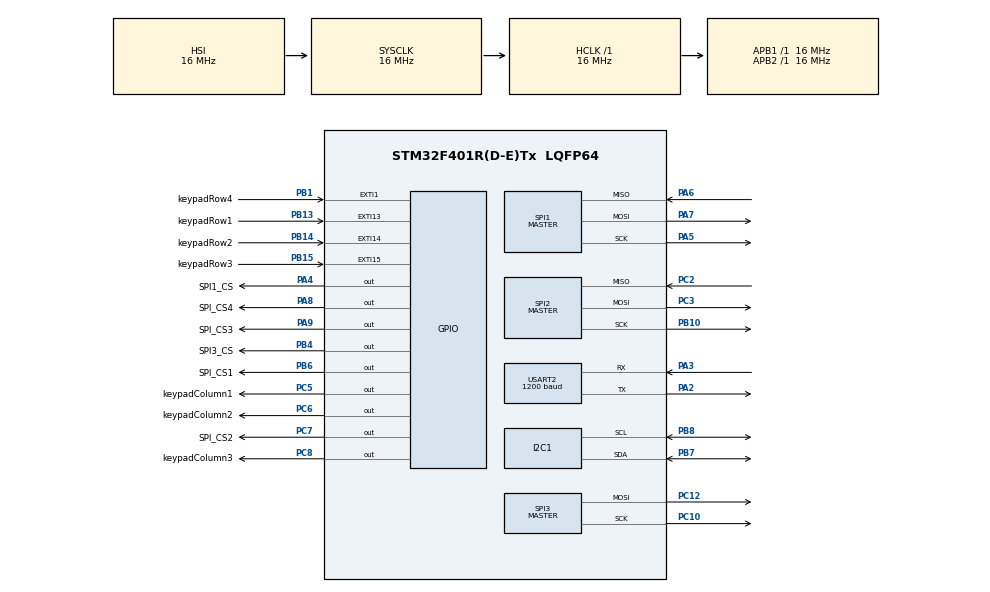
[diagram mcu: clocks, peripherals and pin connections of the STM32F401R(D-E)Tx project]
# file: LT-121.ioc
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Mcu.Family=STM32F4
Mcu.Name=STM32F401R(D-E)Tx
Mcu.Package=LQFP64
NVIC.EXTI15_10_IRQn=true\:0\:0\:false\:false\:true\:true\:true\:true
NVIC.EXTI1_IRQn=true\:0\:0\:false\:false\:true\:true\:true\:true
NVIC.PriorityGroup=NVIC_PRIORITYGROUP_4
NVIC.USART2_IRQn=true\:0\:0\:false\:false\:true\:true\:true\:true
PA2.Mode=Asynchronous
PA2.Signal=USART2_TX
PA3.Mode=Asynchronous
PA3.Signal=USART2_RX
PA4.GPIO_Label=SPI1_CS
PA4.Signal=GPIO_Output
PA5.Mode=Full_Duplex_Master
PA5.Signal=SPI1_SCK
PA6.Mode=Full_Duplex_Master
PA6.Signal=SPI1_MISO
PA7.Mode=Full_Duplex_Master
PA7.Signal=SPI1_MOSI
PA8.GPIO_Label=SPI_CS4
PA8.Signal=GPIO_Output
PA9.GPIO_Label=SPI_CS3
PA9.Signal=GPIO_Output
PB1.GPIO_Label=keypadRow4
PB1.GPIO_PuPd=GPIO_PULLDOWN
PB1.Signal=GPXTI1
PB10.Mode=Full_Duplex_Master
PB10.Signal=SPI2_SCK
PB13.GPIO_Label=keypadRow1
PB13.GPIO_PuPd=GPIO_PULLDOWN
PB13.Signal=GPXTI13
PB14.GPIO_Label=keypadRow2
PB14.GPIO_PuPd=GPIO_PULLDOWN
PB14.Signal=GPXTI14
PB15.GPIO_Label=keypadRow3
PB15.GPIO_PuPd=GPIO_PULLDOWN
PB15.Signal=GPXTI15
PB4.GPIO_Label=SPI3_CS
PB4.Signal=GPIO_Output
PB6.GPIO_Label=SPI_CS1
PB6.Signal=GPIO_Output
PB7.Mode=I2C
PB7.Signal=I2C1_SDA
PB8.Mode=I2C
PB8.Signal=I2C1_SCL
PC10.Mode=TX_Only_Simplex_Unidirect_Master
PC10.Signal=SPI3_SCK
PC12.Mode=TX_Only_Simplex_Unidirect_Master
PC12.Signal=SPI3_MOSI
PC2.Mode=Full_Duplex_Master
PC2.Signal=SPI2_MISO
PC3.Mode=Full_Duplex_Master
PC3.Signal=SPI2_MOSI
PC5.GPIO_Label=keypadColumn1
PC5.Signal=GPIO_Output
PC6.GPIO_Label=keypadColumn2
PC6.Signal=GPIO_Output
PC7.GPIO_Label=SPI_CS2
PC7.Signal=GPIO_Output
PC8.GPIO_Label=keypadColumn3
PC8.Signal=GPIO_Output
ProjectManager.HeapSize=0x200
ProjectManager.StackSize=0x400
ProjectManager.TargetToolchain=STM32CubeIDE
RCC.AHBFreq_Value=16000000
RCC.APB1Freq_Value=16000000
RCC.APB2Freq_Value=16000000
RCC.CortexFreq_Value=16000000
RCC.HSE_VALUE=25000000
RCC.HSI_VALUE=16000000
RCC.LSE_VALUE=32768
RCC.SYSCLKFreq_VALUE=16000000
RCC.VCOOutputFreq_Value=192000000
SPI1.BaudRatePrescaler=SPI_BAUDRATEPRESCALER_4
SPI1.CLKPolarity=SPI_POLARITY_LOW
SPI1.Direction=SPI_DIRECTION_2LINES
SPI1.Mode=SPI_MODE_MASTER
SPI1.VirtualType=VM_MASTER
SPI2.BaudRatePrescaler=SPI_BAUDRATEPRESCALER_32
SPI2.CLKPhase=SPI_PHASE_2EDGE
SPI2.CLKPolarity=SPI_POLARITY_HIGH
SPI2.Direction=SPI_DIRECTION_2LINES
SPI2.Mode=SPI_MODE_MASTER
SPI2.VirtualType=VM_MASTER
SPI3.BaudRatePrescaler=SPI_BAUDRATEPRESCALER_16
SPI3.CLKPolarity=SPI_POLARITY_LOW
SPI3.Direction=SPI_DIRECTION_2LINES
SPI3.Mode=SPI_MODE_MASTER
SPI3.VirtualType=VM_MASTER
USART2.BaudRate=1200
USART2.Parity=PARITY_EVEN
USART2.VirtualMode=VM_ASYNC
USART2.WordLength=WORDLENGTH_9B
board=custom

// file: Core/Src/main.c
/* USER CODE BEGIN Header */
/**
  ******************************************************************************
  * @file           : main.c
  * @brief          : Main program body
  ******************************************************************************
  * @attention
  *
  * Copyright (c) 2024 STMicroelectronics.
  * All rights reserved.
  *
  * This software is licensed under terms that can be found in the LICENSE file
  * in the root directory of this software component.
  * If no LICENSE file comes with this software, it is provided AS-IS.
  *
  ******************************************************************************
  */
/* USER CODE END Header */
#include "main.h"

/* USER CODE BEGIN Includes */
#include "string.h"
#include "stdio.h"
#include "stdbool.h"
#include "stdlib.h"
#include "stm32f4xx_hal_flash.h"
//#include "max31856.h"
#include "max7219.h"
#include "LTC2986.h"
#include <math.h>
#include "keypad.h"
#include "ee.h"
/* USER CODE END Includes */

/* USER CODE BEGIN PD */
#define MAX_COMND_COUNT 3 // Numero maximo de veces consecutivas para el mismo caracter
#define THERMOCOUPLES 4
/* USER CODE END PD */

I2C_HandleTypeDef hi2c1;

SPI_HandleTypeDef hspi1;
SPI_HandleTypeDef hspi2;
SPI_HandleTypeDef hspi3;

UART_HandleTypeDef huart2;

/* USER CODE BEGIN PV */
uint8_t cadena[1] = "0";

char last_char = '\0'; // To record last character received
int same_char_count = 0; // Counter for the consecutive times that a specific character has been received
int chars_to_expect = -1; // Counter for the digits that should be sent from the SMART in commands like GGG

int temperatures[16]={0};
/* USER CODE END PV */

void SystemClock_Config(void);
static void MX_GPIO_Init(void);
static void MX_I2C1_Init(void);
static void MX_SPI2_Init(void);
static void MX_SPI3_Init(void);
static void MX_USART2_UART_Init(void);
static void MX_SPI1_Init(void);

/* USER CODE BEGIN 0 */
LTC2986_t therms = {&hspi1, {SPI1_CS_GPIO_Port, SPI1_CS_Pin}};
int channels[1] = {2};
/* USER CODE END 0 */

int main(void)
{

  /* MCU Configuration--------------------------------------------------------*/

  /* Reset of all peripherals, Initializes the Flash interface and the Systick. */
  HAL_Init();

  /* Configure the system clock */
  SystemClock_Config();

  /* Initialize all configured peripherals */
  MX_GPIO_Init();
  MX_I2C1_Init();
  MX_SPI2_Init();
  MX_SPI3_Init();
  MX_USART2_UART_Init();
  MX_SPI1_Init();
  /* USER CODE BEGIN 2 */
  HAL_UART_Receive_IT(&huart2, cadena, 1);

  // CS pin should default high
  HAL_GPIO_WritePin(SPI_CS1_GPIO_Port, SPI_CS1_Pin, GPIO_PIN_SET);
  HAL_GPIO_WritePin(SPI_CS1_GPIO_Port, SPI_CS1_Pin, GPIO_PIN_RESET);

  // Sube CS del SPI1 para bloquear la comunicación
  HAL_GPIO_WritePin(therms.cs_pin.gpio_port, therms.cs_pin.gpio_pin, 1);

  HAL_GPIO_WritePin(SPI_CS1_GPIO_Port, SPI_CS1_Pin, 1);
  HAL_GPIO_WritePin(SPI_CS2_GPIO_Port, SPI_CS2_Pin, 1);
  HAL_GPIO_WritePin(SPI_CS3_GPIO_Port, SPI_CS3_Pin, 1);
  HAL_GPIO_WritePin(SPI_CS4_GPIO_Port, SPI_CS4_Pin, 1);

  HAL_GPIO_WritePin(SPI3_CS_GPIO_Port, SPI3_CS_Pin, 1);

  HAL_Delay(400); // Minimum is 200ms for LTM start-up

  // Configure Thermocouples Variables
  while(!LTC2986_is_ready(&therms));
  LTC2986_global_configure(&therms);
  LTC2986_configure_rtd(&therms, LTC2986_RTD_PT_100, 7, 5);
  LTC2986_configure_sense_resistor(&therms, 5, 100);
  LTC2986_configure_thermocouple(&therms, LTC2986_TYPE_T_THERMOCOUPLE, 2, 7);

  // Delay just for stability of configuration
  HAL_Delay(1500);

  // Init keypad
  keypad_Init();

  // Init Led Display
  max7219_Init(7);
  max7219_Decode_On();

  // Delay just for stability of configuration
  HAL_Delay(1500);

  max7219_Clean();
  max7219_PrintFtos(DIGIT_8, -3.14, 2);
  max7219_PrintDigit(DIGIT_4, LETTER_H, false);
  max7219_PrintDigit(DIGIT_3, LETTER_E, false);
  max7219_PrintDigit(DIGIT_2, LETTER_L, false);
  max7219_PrintDigit(DIGIT_1, LETTER_P, false);

  max7219_PrintFtos(16, 53.84, 2);
  max7219_PrintFtos(12, -5.36, 2);

  HAL_Delay(3000);
  max7219_Clean();

  HAL_UART_Transmit(&huart2, (uint8_t *) "Holaaa\n\r", strlen("Holaaa\n\r"), 100);

  /* USER CODE END 2 */

  /* Infinite loop */
  while (1)
  {

    /* USER CODE BEGIN 3 */

	float temps[16] = {0};
	char buffers[4][12];
	float temps_2d[THERMOCOUPLES];
	//for(int i = 5; i < 5 + THERMOCOUPLES; i++) {
	int i = 2;
	    temps[i] = 34;
	    uint8_t temp_var = LTC2986_read_status(&therms);
	    sprintf(buffers[i], "%u\n\r", temp_var);
		HAL_UART_Transmit(&huart2, (uint8_t *) buffers[i], strlen(buffers[i]), 100);
		temps[i] = LTC2986_measure_channel(&therms, i);
		sprintf(buffers[i], "%0.2f\n\r", temps[i]);
		HAL_UART_Transmit(&huart2, (uint8_t *) buffers[i], strlen(buffers[i]), 100);

		//if(isnan(temps[i])) { // Fault read detected
		//	return(1);
		//}

		temperatures[i] = (int)(temps[i] * 100);
	  	if(temperatures[i] > 9999) temperatures[i] = 9999;
	  	else if(temperatures[i] < 1000) temperatures[i] = 1000;

	  	sprintf(buffers[i], "%0.2f\n\r", temps[i]);
	  	temps_2d[i] = roundf(temps[i] * 100) / 100;

  	HAL_Delay(200);

  	//max7219_Clean();

  	//for(int i = 0; i < THERMOCOUPLES; i++) {
  		if (isnan(temps[i])) {
  			//HAL_UART_Transmit(&huart2, (uint8_t *)"Fault Probe 1\n", strlen("Fault Probe 1\n"), 100);
  			max7219_PrintDigit(i * 4 + 4, LETTER_E, false);
  			max7219_PrintDigit(i * 4 + 3, LETTER_E, false);
  			max7219_PrintDigit(i * 4 + 2, LETTER_E, false);
  			max7219_PrintDigit(i * 4 + 1, LETTER_E, false);
  		} else {
  			max7219_PrintFtos(i * 4 + 4, temps_2d[i], 2);
  		}

	HAL_Delay(1000);
  }
  /* USER CODE END 3 */
}

void SystemClock_Config(void)
{
  RCC_OscInitTypeDef RCC_OscInitStruct = {0};
  RCC_ClkInitTypeDef RCC_ClkInitStruct = {0};

  /** Configure the main internal regulator output voltage
  */
  __HAL_RCC_PWR_CLK_ENABLE();
  __HAL_PWR_VOLTAGESCALING_CONFIG(PWR_REGULATOR_VOLTAGE_SCALE2);

  /** Initializes the RCC Oscillators according to the specified parameters
  * in the RCC_OscInitTypeDef structure.
  */
  RCC_OscInitStruct.OscillatorType = RCC_OSCILLATORTYPE_HSI;
  RCC_OscInitStruct.HSIState = RCC_HSI_ON;
  RCC_OscInitStruct.HSICalibrationValue = RCC_HSICALIBRATION_DEFAULT;
  RCC_OscInitStruct.PLL.PLLState = RCC_PLL_NONE;
  if (HAL_RCC_OscConfig(&RCC_OscInitStruct) != HAL_OK)
  {
    Error_Handler();
  }

  /** Initializes the CPU, AHB and APB buses clocks
  */
  RCC_ClkInitStruct.ClockType = RCC_CLOCKTYPE_HCLK|RCC_CLOCKTYPE_SYSCLK
                              |RCC_CLOCKTYPE_PCLK1|RCC_CLOCKTYPE_PCLK2;
  RCC_ClkInitStruct.SYSCLKSource = RCC_SYSCLKSOURCE_HSI;
  RCC_ClkInitStruct.AHBCLKDivider = RCC_SYSCLK_DIV1;
  RCC_ClkInitStruct.APB1CLKDivider = RCC_HCLK_DIV1;
  RCC_ClkInitStruct.APB2CLKDivider = RCC_HCLK_DIV1;

  if (HAL_RCC_ClockConfig(&RCC_ClkInitStruct, FLASH_LATENCY_0) != HAL_OK)
  {
    Error_Handler();
  }
}

static void MX_I2C1_Init(void)
{

  hi2c1.Instance = I2C1;
  hi2c1.Init.ClockSpeed = 100000;
  hi2c1.Init.DutyCycle = I2C_DUTYCYCLE_2;
  hi2c1.Init.OwnAddress1 = 0;
  hi2c1.Init.AddressingMode = I2C_ADDRESSINGMODE_7BIT;
  hi2c1.Init.DualAddressMode = I2C_DUALADDRESS_DISABLE;
  hi2c1.Init.OwnAddress2 = 0;
  hi2c1.Init.GeneralCallMode = I2C_GENERALCALL_DISABLE;
  hi2c1.Init.NoStretchMode = I2C_NOSTRETCH_DISABLE;
  if (HAL_I2C_Init(&hi2c1) != HAL_OK)
  {
    Error_Handler();
  }

}

static void MX_SPI1_Init(void)
{

  /* SPI1 parameter configuration*/
  hspi1.Instance = SPI1;
  hspi1.Init.Mode = SPI_MODE_MASTER;
  hspi1.Init.Direction = SPI_DIRECTION_2LINES;
  hspi1.Init.DataSize = SPI_DATASIZE_8BIT;
  hspi1.Init.CLKPolarity = SPI_POLARITY_LOW;
  hspi1.Init.CLKPhase = SPI_PHASE_1EDGE;
  hspi1.Init.NSS = SPI_NSS_SOFT;
  hspi1.Init.BaudRatePrescaler = SPI_BAUDRATEPRESCALER_4;
  hspi1.Init.FirstBit = SPI_FIRSTBIT_MSB;
  hspi1.Init.TIMode = SPI_TIMODE_DISABLE;
  hspi1.Init.CRCCalculation = SPI_CRCCALCULATION_DISABLE;
  hspi1.Init.CRCPolynomial = 10;
  if (HAL_SPI_Init(&hspi1) != HAL_OK)
  {
    Error_Handler();
  }

}

static void MX_SPI2_Init(void)
{

  /* SPI2 parameter configuration*/
  hspi2.Instance = SPI2;
  hspi2.Init.Mode = SPI_MODE_MASTER;
  hspi2.Init.Direction = SPI_DIRECTION_2LINES;
  hspi2.Init.DataSize = SPI_DATASIZE_8BIT;
  hspi2.Init.CLKPolarity = SPI_POLARITY_HIGH;
  hspi2.Init.CLKPhase = SPI_PHASE_2EDGE;
  hspi2.Init.NSS = SPI_NSS_SOFT;
  hspi2.Init.BaudRatePrescaler = SPI_BAUDRATEPRESCALER_32;
  hspi2.Init.FirstBit = SPI_FIRSTBIT_MSB;
  hspi2.Init.TIMode = SPI_TIMODE_DISABLE;
  hspi2.Init.CRCCalculation = SPI_CRCCALCULATION_DISABLE;
  hspi2.Init.CRCPolynomial = 10;
  if (HAL_SPI_Init(&hspi2) != HAL_OK)
  {
    Error_Handler();
  }

}

static void MX_SPI3_Init(void)
{

  /* SPI3 parameter configuration*/
  hspi3.Instance = SPI3;
  hspi3.Init.Mode = SPI_MODE_MASTER;
  hspi3.Init.Direction = SPI_DIRECTION_2LINES;
  hspi3.Init.DataSize = SPI_DATASIZE_8BIT;
  hspi3.Init.CLKPolarity = SPI_POLARITY_LOW;
  hspi3.Init.CLKPhase = SPI_PHASE_1EDGE;
  hspi3.Init.NSS = SPI_NSS_SOFT;
  hspi3.Init.BaudRatePrescaler = SPI_BAUDRATEPRESCALER_16;
  hspi3.Init.FirstBit = SPI_FIRSTBIT_MSB;
  hspi3.Init.TIMode = SPI_TIMODE_DISABLE;
  hspi3.Init.CRCCalculation = SPI_CRCCALCULATION_DISABLE;
  hspi3.Init.CRCPolynomial = 10;
  if (HAL_SPI_Init(&hspi3) != HAL_OK)
  {
    Error_Handler();
  }

}

static void MX_USART2_UART_Init(void)
{

  huart2.Instance = USART2;
  huart2.Init.BaudRate = 1200;
  huart2.Init.WordLength = UART_WORDLENGTH_9B;
  huart2.Init.StopBits = UART_STOPBITS_1;
  huart2.Init.Parity = UART_PARITY_EVEN;
  huart2.Init.Mode = UART_MODE_TX_RX;
  huart2.Init.HwFlowCtl = UART_HWCONTROL_NONE;
  huart2.Init.OverSampling = UART_OVERSAMPLING_16;
  if (HAL_UART_Init(&huart2) != HAL_OK)
  {
    Error_Handler();
  }

}

static void MX_GPIO_Init(void)
{
  GPIO_InitTypeDef GPIO_InitStruct = {0};

  /* GPIO Ports Clock Enable */
  __HAL_RCC_GPIOC_CLK_ENABLE();
  __HAL_RCC_GPIOA_CLK_ENABLE();
  __HAL_RCC_GPIOB_CLK_ENABLE();

  /*Configure GPIO pin Output Level */
  HAL_GPIO_WritePin(GPIOA, SPI1_CS_Pin|SPI_CS4_Pin|SPI_CS3_Pin, GPIO_PIN_RESET);

  /*Configure GPIO pin Output Level */
  HAL_GPIO_WritePin(GPIOC, keypadColumn1_Pin|keypadColumn2_Pin|SPI_CS2_Pin|keypadColumn3_Pin, GPIO_PIN_RESET);

  /*Configure GPIO pin Output Level */
  HAL_GPIO_WritePin(GPIOB, SPI3_CS_Pin|SPI_CS1_Pin, GPIO_PIN_RESET);

  /*Configure GPIO pins : SPI1_CS_Pin SPI_CS4_Pin SPI_CS3_Pin */
  GPIO_InitStruct.Pin = SPI1_CS_Pin|SPI_CS4_Pin|SPI_CS3_Pin;
  GPIO_InitStruct.Mode = GPIO_MODE_OUTPUT_PP;
  GPIO_InitStruct.Pull = GPIO_NOPULL;
  GPIO_InitStruct.Speed = GPIO_SPEED_FREQ_LOW;
  HAL_GPIO_Init(GPIOA, &GPIO_InitStruct);

  /*Configure GPIO pins : keypadColumn1_Pin keypadColumn2_Pin SPI_CS2_Pin keypadColumn3_Pin */
  GPIO_InitStruct.Pin = keypadColumn1_Pin|keypadColumn2_Pin|SPI_CS2_Pin|keypadColumn3_Pin;
  GPIO_InitStruct.Mode = GPIO_MODE_OUTPUT_PP;
  GPIO_InitStruct.Pull = GPIO_NOPULL;
  GPIO_InitStruct.Speed = GPIO_SPEED_FREQ_LOW;
  HAL_GPIO_Init(GPIOC, &GPIO_InitStruct);

  /*Configure GPIO pins : keypadRow4_Pin keypadRow1_Pin keypadRow2_Pin keypadRow3_Pin */
  GPIO_InitStruct.Pin = keypadRow4_Pin|keypadRow1_Pin|keypadRow2_Pin|keypadRow3_Pin;
  GPIO_InitStruct.Mode = GPIO_MODE_IT_RISING;
  GPIO_InitStruct.Pull = GPIO_PULLDOWN;
  HAL_GPIO_Init(GPIOB, &GPIO_InitStruct);

  /*Configure GPIO pins : SPI3_CS_Pin SPI_CS1_Pin */
  GPIO_InitStruct.Pin = SPI3_CS_Pin|SPI_CS1_Pin;
  GPIO_InitStruct.Mode = GPIO_MODE_OUTPUT_PP;
  GPIO_InitStruct.Pull = GPIO_NOPULL;
  GPIO_InitStruct.Speed = GPIO_SPEED_FREQ_LOW;
  HAL_GPIO_Init(GPIOB, &GPIO_InitStruct);

  /* EXTI interrupt init*/
  HAL_NVIC_SetPriority(EXTI1_IRQn, 0, 0);
  HAL_NVIC_EnableIRQ(EXTI1_IRQn);

  HAL_NVIC_SetPriority(EXTI15_10_IRQn, 0, 0);
  HAL_NVIC_EnableIRQ(EXTI15_10_IRQn);

}

/* USER CODE BEGIN 4 */

_Bool char_counter(char c) {
  // Si el carácter recibido es diferente al último carácter almacenado
  if (c != last_char) {
    // Reiniciar el contador y actualizar el último carácter almacenado
    same_char_count = 1;
    last_char = c;
  } else {
    // Si es el mismo carácter, incrementar el contador
    same_char_count++;
  }

  // Si se ha recibido el mismo carácter el número máximo de veces consecutivas
  if (same_char_count >= MAX_COMND_COUNT) {
    // Responder con un mensaje específico
    //HAL_UART_Transmit(&huart2, (uint8_t *)"OK\n\r", strlen("OK\n\r"), 100);
    // Reiniciar el contador y el último carácter almacenado
    same_char_count = 0;
    last_char = '\0';
    return true;
  } else {
    return false;
  }
}

void N_name_and_status_handler(){
  char respuesta_N[6]="111000"; // This is for LT-100. Comment for S-100
  //char respuesta_N[6]="222000"; // This is for S-100. Comment for LT-100
  char *s;
  for ( s=respuesta_N; *s != '\0'; s++ ) {
    HAL_UART_Transmit(&huart2,(uint8_t *)s , 1, 100);
  }
}

void done(){
  char respuesta_N[3]="DDD";
  char *s;
  for ( s=respuesta_N; *s != '\0'; s++ ) {
    HAL_UART_Transmit(&huart2,(uint8_t *)s , 1, 100);
  }
}

void T_temperature_handler_V2(){
  //char temperatures_msg[70] = "EEE3500360037003800350036003700380035003600370038003500360037003800LH";
  char temperature_str[70] = "EEE";
  int i=0;
  for(i=0;i<16;i++){
    temperature_str[i*4 + 6]= '\0';
    sprintf(temperature_str + (3 + 4*i), "%04d", temperatures[i] ? temperatures[i] : 3500);  // falta ver que hacer para que funcione cuando el numero tiene menos de 4 digitos.
    //strncpy(&temperatures_msg[3 + i * 4],temperature_str,4);
  }

  unsigned checksum = 0;
  for (int i = 3; i < 3 + 4 * 16; i++) {
    checksum += temperature_str[i];
  }
  int onChar = 3+64;
  temperature_str[onChar++] = checksum % 256;
  temperature_str[onChar++] = checksum / 256;

  char *s;
  for ( s=temperature_str; *s != '\0'; s++ ) {
    HAL_UART_Transmit(&huart2,(uint8_t *)s , 1, 100);
  }
}

void HAL_UART_RxCpltCallback(UART_HandleTypeDef *huart)
{

  /* Prevent unused argument(s) compilation warning */
  if(huart->Instance == USART2)
  {
    if(--chars_to_expect != 0) {
      switch(cadena[0]){
        case 'I':
          if(char_counter(cadena[0])){
            done();
          }
          break;
        case 'N':
          if(char_counter(cadena[0])){
            //HAL_GPIO_WritePin(LD1_GPIO_Port, LD1_Pin, 1);
            N_name_and_status_handler();
          }
          break;
        case 'T':
          if(char_counter(cadena[0])){
             T_temperature_handler_V2();
          }
          break;
        case 'V':
          if(char_counter(cadena[0])){
            chars_to_expect = 3;
          }
          break;
        case 'G':
          if(char_counter(cadena[0])){
            chars_to_expect = 3;
          }
          break;
        case 'E':
          if(char_counter(cadena[0])){
            chars_to_expect = 18;
          }
          break;
        case 'F':
          if(char_counter(cadena[0])){
            chars_to_expect = 3;
          }
          break;
        case 'R':
          if(char_counter(cadena[0])){
            T_temperature_handler_V2();
          }
          break;

        default:
          //HAL_UART_Transmit(&huart2, (uint8_t *)"Comando no reconocido\n", strlen("Comando no reconocido\n"), 100); // acá se debe poner una función tipo "No_recognized_command_handler"
          break;
      }
    } else {
      done();
    }
    HAL_UART_Receive_IT(&huart2, cadena, 1);
  }
}

void HAL_GPIO_EXTI_Callback(uint16_t GPIO_Pin)
{
  uint16_t key = getKeyAsInt(GPIO_Pin);
  if(key == KEYPAD_ERROR_KEY) {
    return;
  }
  uint32_t address = 0x100;
  uint8_t data1[0xC00];
  uint8_t data2[0xC00];
  max7219_PrintDigit(8, key, false);
  data1[4] = 4;
  data1[5] = 5;
  data1[6] = 6;
  data1[7] = 7;

  // Init flash memory
  if(ee_init()) {
  } else { // error
	  max7219_PrintDigit(8, 5, false);
	  return;
  }
  if(ee_format(1)) {
	  max7219_PrintDigit(7, 4, false);
  } else { // error
	  max7219_PrintDigit(7, 5, false);
	  return;
  }

  if(!ee_write(address + 0x0, 1, data1 + 4))return;
  if(!ee_write(address + 0x4, 1, data1 + 5))return;
  if(!ee_write(address + 0x8, 1, data1 + 6))return;
  if(!ee_write(address + 0xC, 1, data1 + 7))return;
  if(ee_write(address+0x10, 1, data1 + 3)) {
  	  max7219_PrintDigit(6, 4, false);
    } else { // error
  	  max7219_PrintDigit(6, 5, false);
  	  return;
    }
  if(ee_read(address + 0x0, 1, data2 + 0x04)) {
  } else {
   return;
  } if(ee_read(address + 0x4, 1, data2 + 0x08)) {
  } else {
   return;
  } if(ee_read(address + 0x8, 1, data2 + 0x0C)) {
  } else {
   return;
  } if(ee_read(address + 0xC, 1, data2 + 0x10)) {
	max7219_PrintItos(12, data2[0x04]);
	max7219_PrintItos(11, data2[0x08]);
	max7219_PrintItos(10, data2[0x0C]);
	max7219_PrintItos(9,  data2[0x10]);
  } else {
   return;
  }

}

/* USER CODE END 4 */

void Error_Handler(void)
{
  __disable_irq();
  while (1)
  {
  }
}
